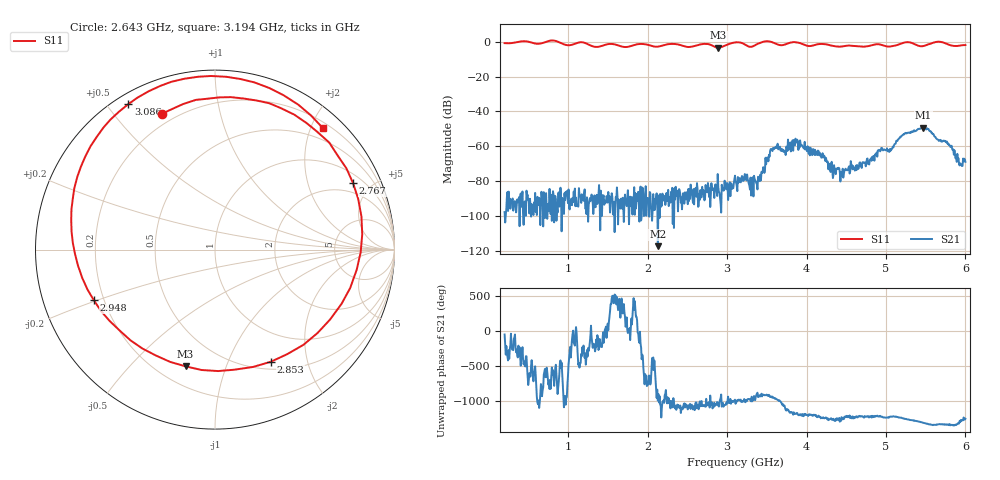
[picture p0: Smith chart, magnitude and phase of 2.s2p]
! NanoVNA-App by OneOfEleven et al v1.1.209 (+OD15)
! Date: 2024-07-30 15:11:28
! Start: 200MHz Stop: 6GHz Points: 801
! S-Parameter data: F S11 S21 S12 S22
# Hz S RI R 50
!  Frequency  S11_Real  S11_Imag  S21_Real  S21_Imag  S12_Real  S12_Imag  S22_Real  S22_Imag
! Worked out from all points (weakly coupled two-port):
!   801 points, 200 MHz to 6 GHz, reference 50 ohm
!   highest |S21| = -49.37 dB at 5.471 GHz (marker M1); lowest = -117.5 dB at 2.128 GHz (marker M2)
!   lowest |S11| = -3.5 dB at 2.89 GHz (marker M3), VSWR 5.08, Z = 15.5 - j36.6 ohm
!   |S11| at or under -10 dB: nowhere
!   S12 and S22 are empty: the file has one direction only
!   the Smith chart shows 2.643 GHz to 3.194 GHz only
!   S11 on the Smith chart (normalised r, x): 2.643 GHz: 0.15, +0.67; 2.767 GHz: 1.43, +3.90; 2.853 GHz: 0.59, -1.44; 2.948 GHz: 0.16, -0.20; 3.086 GHz: 0.04, +0.57; 3.194 GHz: 0.29, +2.19
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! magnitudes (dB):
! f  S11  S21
! 200 MHz  -0.8  -97.9
! 1.171 GHz  -0.3  -87.7
! 2.128 GHz  -2.8  -117.5
! 2.136 GHz  -2.8  -95.7
! 2.643 GHz  -1.8  -94.3
! 2.767 GHz  -1.4  -83.9
! 2.853 GHz  -3.1  -82.0
! 2.89 GHz  -3.5  -83.6
! 2.948 GHz  -2.7  -84.2
! 3.086 GHz  -0.5  -81.1
! 3.1 GHz  -0.4  -76.9
! 3.194 GHz  -0.9  -77.5
! 3.397 GHz  -1.0  -78.0
! 3.607 GHz  -1.0  -61.0
! 3.869 GHz  -0.3  -57.2
! 4.072 GHz  -2.3  -65.2
! 4.449 GHz  -2.7  -77.1
! 5.036 GHz  -2.8  -62.2
! 5.471 GHz  -2.5  -49.4
! 5.797 GHz  -1.8  -59.1
! 5.935 GHz  -2.2  -69.9
! 6 GHz  -1.9  -69.0
